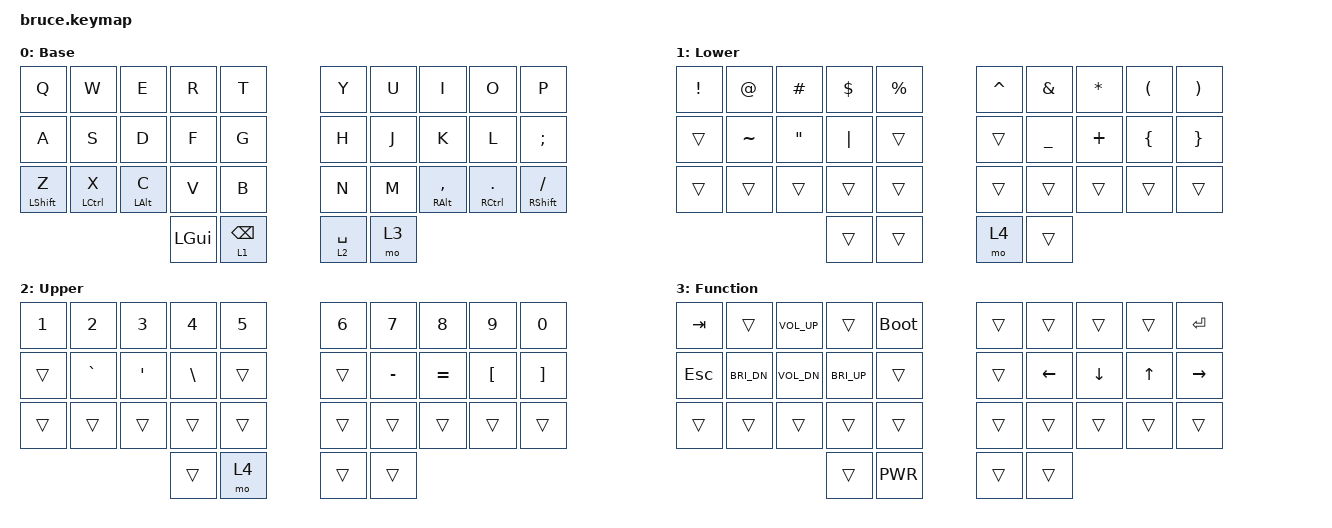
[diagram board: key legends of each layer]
/*
 * Copyright (c) 2023 The ZMK Contributors
 *
 * SPDX-License-Identifier: MIT
 */

#include <behaviors.dtsi>
#include <dt-bindings/zmk/bt.h>
#include <dt-bindings/zmk/keys.h>

/ {
    keymap {
        compatible = "zmk,keymap";

        base {
            display-name = "Base";
            bindings = <
&kp Q       &kp W       &kp E      &kp R &kp T    &kp Y      &kp U       &kp I          &kp O         &kp P
&kp A       &kp S       &kp D      &kp F &kp G    &kp H      &kp J       &kp K          &kp L         &kp SEMI
&mt LSHFT Z &mt LCTRL X &mt LALT C &kp V &kp B    &kp N      &kp M       &mt RALT COMMA &mt RCTRL DOT &mt RSHFT SLASH
                                   &kp LGUI       &lt 1 BSPC &lt 2 SPACE &mo 3
            >;
        };

        lower {
            display-name = "Lower";
            bindings = <
&kp EXCL &kp AT    &kp HASH &kp DLLR &kp PRCNT &kp CARET &kp AMPS  &kp ASTRK &kp LPAR &kp RPAR
&trans   &kp TILDE &kp DQT  &kp PIPE &trans    &trans    &kp UNDER &kp PLUS  &kp LBRC &kp RBRC
&trans   &trans    &trans   &trans   &trans    &trans    &trans    &trans    &trans   &trans
                            &trans   &trans    &mo 4    &trans
            >;
        };

        upper {
            display-name = "Upper";
            bindings = <
&kp N1 &kp N2    &kp N3  &kp N4   &kp N5 &kp N6 &kp N7    &kp N8    &kp N9   &kp N0
&trans &kp GRAVE &kp SQT &kp BSLH &trans &trans &kp MINUS &kp EQUAL &kp LBKT &kp RBKT
&trans &trans    &trans  &trans   &trans &trans &trans    &trans    &trans   &trans
                         &trans   &mo 4  &trans  &trans
            >;
        };

        function {
            display-name = "Function";
            bindings = <
&kp TAB &trans       &kp C_VOL_UP &trans       &bootloader    &trans &trans   &trans   &trans &kp ENTER
&kp ESC &kp C_BRI_DN &kp C_VOL_DN &kp C_BRI_UP &trans    &trans &kp LEFT &kp DOWN &kp UP &kp RIGHT
&trans  &trans       &trans       &trans       &trans    &trans &trans   &trans   &trans &trans
                                  &trans       &kp C_PWR &trans &trans
            >;
        };

    };
};
